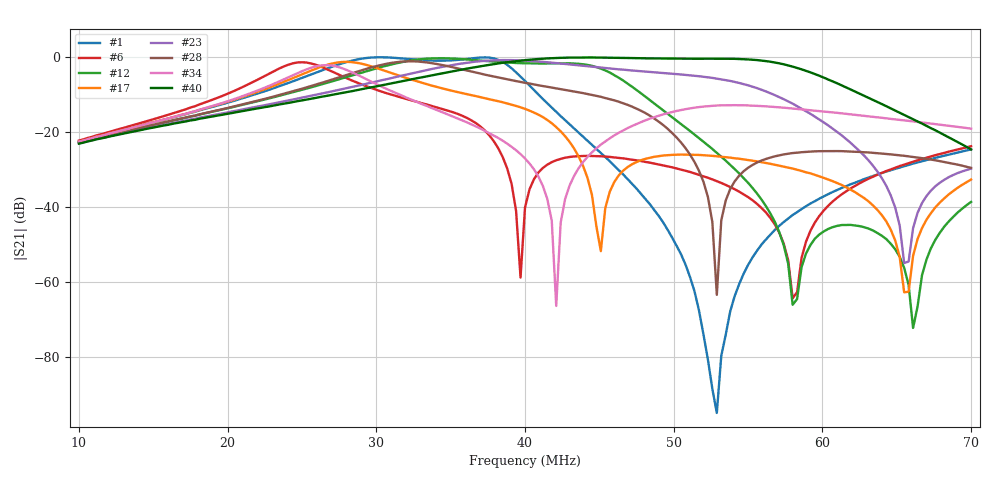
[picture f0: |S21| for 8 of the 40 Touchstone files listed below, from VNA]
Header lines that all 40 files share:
#  HZ  S  RI  R  50.00
! Rohde & Schwarz ZVT8 8Ports - Version 4.11 - 1300.0000k08 SN: 100242
! Measurements: S11 S21 S12 S22
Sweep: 10 MHz to 70 MHz
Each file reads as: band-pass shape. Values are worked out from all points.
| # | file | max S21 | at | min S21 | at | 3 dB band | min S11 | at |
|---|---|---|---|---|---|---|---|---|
| 1 | CA_30p00_CG30p00.s2p | -0.05 dB | 30.1 MHz | -94.8 dB | 52.9 MHz | 26.8 MHz-39.1 MHz | -29.8 dB | 37.3 MHz |
| 2 | CA_30p00_CG35p00.s2p | -0.25 dB | 31.3 MHz | -82.5 dB | 52.6 MHz | 27.7 MHz-40.6 MHz | -13.3 dB | 31.3 MHz |
| 3 | CA_30p00_CG40p00.s2p | -0.73 dB | 31.9 MHz | -77.1 dB | 66.1 MHz | 28 MHz-37.3 MHz | -8.4 dB | 31.9 MHz |
| 4 | CA_30p00_CG45p00.s2p | -1.28 dB | 32.2 MHz | -64.2 dB | 52.6 MHz | 28.6 MHz-36.1 MHz | -6.1 dB | 32.2 MHz |
| 5 | CA_30p00_CG48p00.s2p | -1.61 dB | 32.2 MHz | -61.8 dB | 52.6 MHz | 28.6 MHz-36.1 MHz | -5.2 dB | 32.2 MHz |
| 6 | CA_35p00_CG10p00.s2p | -1.38 dB | 25 MHz | -64.2 dB | 58 MHz | 22.9 MHz-27.1 MHz | -6.1 dB | 25 MHz |
| 7 | CA_35p00_CG15p00.s2p | -1.11 dB | 26.2 MHz | -67.8 dB | 42.1 MHz | 24.1 MHz-28.9 MHz | -6.9 dB | 26.2 MHz |
| 8 | CA_35p00_CG20p00.s2p | -0.82 dB | 27.7 MHz | -66.6 dB | 58 MHz | 25 MHz-31 MHz | -8.2 dB | 27.7 MHz |
| 9 | CA_35p00_CG25p00.s2p | -0.48 dB | 29.5 MHz | -68.1 dB | 58 MHz | 26.5 MHz-35.2 MHz | -10.5 dB | 29.5 MHz |
| 10 | CA_35p00_CG30p00.s2p | -0.18 dB | 31.3 MHz | -77.3 dB | 52.9 MHz | 27.7 MHz-40.6 MHz | -15.7 dB | 31.3 MHz |
| 11 | CA_35p00_CG35p00.s2p | -0.05 dB | 33.1 MHz | -95.1 dB | 58.3 MHz | 28.9 MHz-43 MHz | -29.8 dB | 33.1 MHz |
| 12 | CA_35p00_CG40p00.s2p | -0.32 dB | 34.3 MHz | -72.2 dB | 66.1 MHz | 29.8 MHz-45.1 MHz | -12.1 dB | 34.3 MHz |
| 13 | CA_35p00_CG45p00.s2p | -0.90 dB | 34.6 MHz | -55.1 dB | 58 MHz | 30.4 MHz-40.9 MHz | -7.5 dB | 34.6 MHz |
| 14 | CA_35p00_CG48p00.s2p | -1.27 dB | 35.2 MHz | -49.8 dB | 58 MHz | 30.7 MHz-40.3 MHz | -6.1 dB | 35.2 MHz |
| 15 | CA_40p00_CG10p00.s2p | -1.78 dB | 25 MHz | -61.5 dB | 65.8 MHz | 23.2 MHz-27.1 MHz | -5.1 dB | 25 MHz |
| 16 | CA_40p00_CG15p00.s2p | -1.55 dB | 26.5 MHz | -62.2 dB | 42.1 MHz | 24.1 MHz-28.9 MHz | -5.6 dB | 26.5 MHz |
| 17 | CA_40p00_CG20p00.s2p | -1.28 dB | 28 MHz | -62.6 dB | 65.5 MHz | 25.3 MHz-31 MHz | -6.3 dB | 28 MHz |
| 18 | CA_40p00_CG25p00.s2p | -0.97 dB | 29.8 MHz | -63.9 dB | 65.8 MHz | 26.8 MHz-33.4 MHz | -7.4 dB | 29.8 MHz |
| 19 | CA_40p00_CG30p00.s2p | -0.59 dB | 31.9 MHz | -67.1 dB | 52.9 MHz | 28.3 MHz-37.9 MHz | -9.6 dB | 31.9 MHz |
| 20 | CA_40p00_CG35p00.s2p | -0.21 dB | 34.6 MHz | -70.3 dB | 65.5 MHz | 30.1 MHz-45.1 MHz | -14.3 dB | 34.3 MHz |
| 21 | CA_40p00_CG40p00.s2p | -0.04 dB | 36.7 MHz | -97.4 dB | 66.1 MHz | 31.6 MHz-48.1 MHz | -29.2 dB | 37 MHz |
| 22 | CA_40p00_CG45p00.s2p | -0.40 dB | 38.5 MHz | -62.1 dB | 65.5 MHz | 32.8 MHz-51.1 MHz | -10.9 dB | 38.5 MHz |
| 23 | CA_40p00_CG48p00.s2p | -0.81 dB | 38.5 MHz | -54.9 dB | 65.5 MHz | 33.1 MHz-47.8 MHz | -7.9 dB | 38.5 MHz |
| 24 | CA_45p00_CG10p00.s2p | -2.14 dB | 25.3 MHz | -61.3 dB | 39.7 MHz | 23.2 MHz-27.1 MHz | -4.4 dB | 25.3 MHz |
| 25 | CA_45p00_CG15p00.s2p | -1.96 dB | 26.5 MHz | -60.4 dB | 42.1 MHz | 24.4 MHz-28.9 MHz | -4.7 dB | 26.5 MHz |
| 26 | CA_45p00_CG20p00.s2p | -1.75 dB | 28 MHz | -50.7 dB | 45.1 MHz | 25.6 MHz-30.7 MHz | -5.1 dB | 28 MHz |
| 27 | CA_45p00_CG25p00.s2p | -1.47 dB | 30.1 MHz | -49.0 dB | 48.4 MHz | 27.1 MHz-33.4 MHz | -5.7 dB | 30.1 MHz |
| 28 | CA_45p00_CG30p00.s2p | -1.14 dB | 32.2 MHz | -63.3 dB | 52.9 MHz | 28.6 MHz-36.7 MHz | -6.7 dB | 32.2 MHz |
| 29 | CA_45p00_CG35p00.s2p | -0.73 dB | 35.2 MHz | -59.3 dB | 58.6 MHz | 30.7 MHz-41.8 MHz | -8.5 dB | 35.2 MHz |
| 30 | CA_45p00_CG40p00.s2p | -0.27 dB | 38.5 MHz | -64.0 dB | 66.1 MHz | 32.8 MHz-51.1 MHz | -13.0 dB | 38.8 MHz |
| 31 | CA_45p00_CG45p00.s2p | -0.04 dB | 42.7 MHz | -32.7 dB | 70 MHz | 35.2 MHz-55.9 MHz | -29.2 dB | 51.7 MHz |
| 32 | CA_45p00_CG48p00.s2p | -0.26 dB | 44.2 MHz | -23.7 dB | 70 MHz | 36.1 MHz-58.6 MHz | -13.0 dB | 44.2 MHz |
| 33 | CA_48p00_CG10p00.s2p | -2.31 dB | 25.3 MHz | -62.8 dB | 39.7 MHz | 23.2 MHz-27.1 MHz | -4.2 dB | 25.3 MHz |
| 34 | CA_48p00_CG15p00.s2p | -2.16 dB | 26.5 MHz | -66.3 dB | 42.1 MHz | 24.4 MHz-28.9 MHz | -4.4 dB | 26.5 MHz |
| 35 | CA_48p00_CG20p00.s2p | -1.97 dB | 28.3 MHz | -52.6 dB | 45.1 MHz | 25.6 MHz-30.7 MHz | -4.7 dB | 28.3 MHz |
| 36 | CA_48p00_CG25p00.s2p | -1.72 dB | 30.1 MHz | -51.6 dB | 48.4 MHz | 27.1 MHz-33.1 MHz | -5.1 dB | 30.1 MHz |
| 37 | CA_48p00_CG30p00.s2p | -1.42 dB | 32.5 MHz | -55.0 dB | 52.9 MHz | 28.9 MHz-36.4 MHz | -5.8 dB | 32.5 MHz |
| 38 | CA_48p00_CG35p00.s2p | -1.05 dB | 35.2 MHz | -51.5 dB | 58.6 MHz | 30.7 MHz-40.9 MHz | -7.0 dB | 35.2 MHz |
| 39 | CA_48p00_CG40p00.s2p | -0.57 dB | 38.8 MHz | -70.8 dB | 66.1 MHz | 33.4 MHz-49.6 MHz | -9.5 dB | 39.1 MHz |
| 40 | CA_48p00_CG45p00.s2p | -0.11 dB | 43.9 MHz | -24.6 dB | 70 MHz | 36.1 MHz-58.3 MHz | -18.5 dB | 43.9 MHz |
